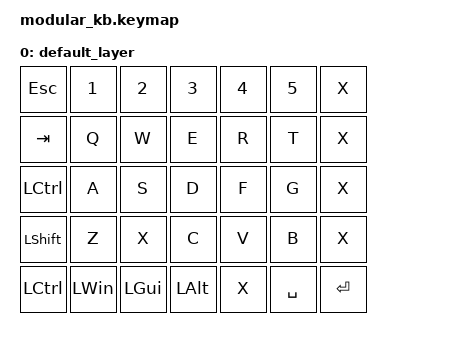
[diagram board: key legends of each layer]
#include <behaviors.dtsi>
#include <dt-bindings/zmk/keys.h>

/ {
	keymap {
		compatible = "zmk,keymap";

		default_layer {
			bindings = <
	&kp ESC    &kp 1    &kp 2    &kp 3     &kp 4  	&kp 5  	&kp X
	&kp TAB    &kp Q    &kp W    &kp E     &kp R  	&kp T  	&kp X
	&kp LCTRL  &kp A    &kp S    &kp D     &kp F 	&kp G   &kp X  
	&kp LSHFT  &kp Z   	&kp X    &kp C     &kp V   	&kp B   &kp X
	&kp LCTRL  &kp LWIN &kp LGUI &kp LALT  &kp X    &kp SPACE &kp RET
			>;
		};
	};
};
